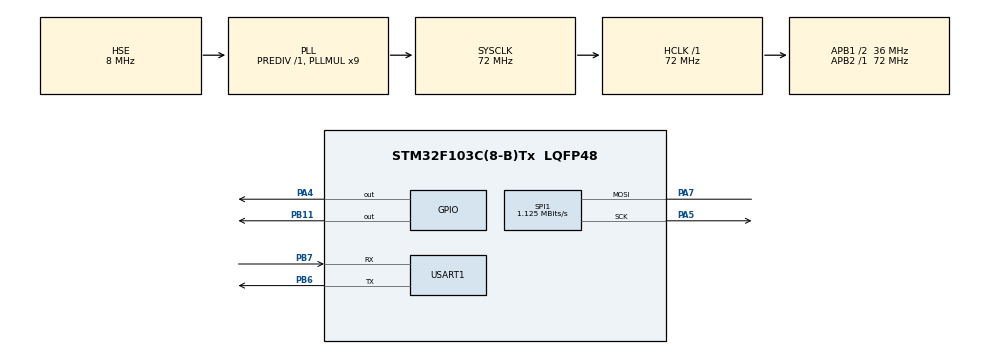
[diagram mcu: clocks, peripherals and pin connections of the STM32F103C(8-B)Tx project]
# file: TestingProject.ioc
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Mcu.Family=STM32F1
Mcu.Name=STM32F103C(8-B)Tx
Mcu.Package=LQFP48
NVIC.PriorityGroup=NVIC_PRIORITYGROUP_4
PA13.Mode=Serial_Wire
PA13.Signal=SYS_JTMS-SWDIO
PA14.Mode=Serial_Wire
PA14.Signal=SYS_JTCK-SWCLK
PA4.Signal=GPIO_Output
PA5.Mode=Simplex_Bidirectional_Master
PA5.Signal=SPI1_SCK
PA7.Mode=Simplex_Bidirectional_Master
PA7.Signal=SPI1_MOSI
PB11.Signal=GPIO_Output
PB6.Mode=Asynchronous
PB6.Signal=USART1_TX
PB7.Mode=Asynchronous
PB7.Signal=USART1_RX
PD0-OSC_IN.Mode=HSE-External-Oscillator
PD0-OSC_IN.Signal=RCC_OSC_IN
PD1-OSC_OUT.Mode=HSE-External-Oscillator
PD1-OSC_OUT.Signal=RCC_OSC_OUT
ProjectManager.HeapSize=0x200
ProjectManager.StackSize=0x400
ProjectManager.TargetToolchain=STM32CubeIDE
RCC.AHBFreq_Value=72000000
RCC.APB1CLKDivider=RCC_HCLK_DIV2
RCC.APB1Freq_Value=36000000
RCC.APB1TimFreq_Value=72000000
RCC.APB2Freq_Value=72000000
RCC.APB2TimFreq_Value=72000000
RCC.HCLKFreq_Value=72000000
RCC.PLLMUL=RCC_PLL_MUL9
RCC.PLLSourceVirtual=RCC_PLLSOURCE_HSE
RCC.SYSCLKFreq_VALUE=72000000
RCC.SYSCLKSource=RCC_SYSCLKSOURCE_PLLCLK
RCC.USBFreq_Value=48000000
RCC.USBPrescaler=RCC_USBCLKSOURCE_PLL_DIV1_5
SPI1.BaudRatePrescaler=SPI_BAUDRATEPRESCALER_64
SPI1.CalculateBaudRate=1.125 MBits/s
SPI1.Direction=SPI_DIRECTION_1LINE
SPI1.FirstBit=SPI_FIRSTBIT_MSB
SPI1.Mode=SPI_MODE_MASTER
SPI1.VirtualType=VM_MASTER
TIM4.Prescaler=72-1
USART1.VirtualMode=VM_ASYNC
VP_TIM4_VS_ClockSourceINT.Mode=Internal
board=custom

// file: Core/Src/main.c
/* USER CODE BEGIN Header */
/**
 ******************************************************************************
 * @file           : main.c
 * @brief          : Main program body
 ******************************************************************************
 * @attention
 *
 * Copyright (c) 2025 STMicroelectronics.
 * All rights reserved.
 *
 * This software is licensed under terms that can be found in the LICENSE file
 * in the root directory of this software component.
 * If no LICENSE file comes with this software, it is provided AS-IS.
 *
 ******************************************************************************
 */
/* USER CODE END Header */
#include "main.h"

/* USER CODE BEGIN Includes */
#include <stdio.h>
#include <stdbool.h>
#include <string.h>
/* USER CODE END Includes */

/* USER CODE BEGIN PD */
#define TEMP_PORT GPIOB
#define TEMP_PIN GPIO_PIN_11
#define TEMP_TIMEOUT 100
/* USER CODE END PD */

SPI_HandleTypeDef hspi1;

TIM_HandleTypeDef htim4;

UART_HandleTypeDef huart1;

/* USER CODE BEGIN PV */
uint8_t txBuffer[] = "Test String\n";
uint8_t txBufferLen = sizeof(txBuffer);
/* USER CODE END PV */

void SystemClock_Config(void);
static void MX_GPIO_Init(void);
static void MX_USART1_UART_Init(void);
static void MX_TIM4_Init(void);
static void MX_SPI1_Init(void);
/* USER CODE BEGIN PFP */

//
void setTempPinOutput(bool isOutput);
void print(char *text);
void delayUs(uint32_t us);
/* USER CODE END PFP */

int main(void) {

	/* MCU Configuration--------------------------------------------------------*/

	/* Reset of all peripherals, Initializes the Flash interface and the Systick. */
	HAL_Init();

	/* Configure the system clock */
	SystemClock_Config();

	/* Initialize all configured peripherals */
	MX_GPIO_Init();
	MX_USART1_UART_Init();
	MX_TIM4_Init();
	MX_SPI1_Init();
	/* USER CODE BEGIN 2 */
	setTempPinOutput(false);
	HAL_UART_Transmit(&huart1, txBuffer, txBufferLen, 100);
	uint32_t timer = HAL_GetTick();

	HAL_TIM_Base_Start(&htim4);

	HAL_GPIO_WritePin(GPIOA, GPIO_PIN_4, 0); //Disable RTC CS
	/* USER CODE END 2 */

	/* Infinite loop */
	while (1) {

		/* USER CODE BEGIN 3 */

		while (1) {
			HAL_GPIO_WritePin(GPIOA, GPIO_PIN_4, 1);

//		uint8_t spiBuffer[2] = {0xFF, 0b01010101};
//			HAL_SPI_Transmit(&hspi1, spiBuffer, 2, 100);

			uint8_t spiBuffer[1] = { 0x81 };
			uint8_t spiReciveBuffer[1] = { 0 };
			HAL_SPI_Transmit(&hspi1, spiBuffer, 1, 100);
			HAL_SPI_Receive(&hspi1, spiReciveBuffer, 1, 100);

			HAL_GPIO_WritePin(GPIOA, GPIO_PIN_4, 0);

			HAL_Delay(2000);
		}
//		HAL_UART_Transmit(&huart1, txBuffer, txBufferLen, 100);
//	     HAL_UART_Receive(&huart1, buffer, sizeof(buffer), 100);
//	     HAL_UART_Transmit(&huart1, buffer, sizeof(buffer), 100);
//		if (HAL_GetTick() - timer > 1000) {
		HAL_Delay(1000);
		print("Starting\r\n");
		//Pull pin low for 20ms
		setTempPinOutput(true);
		HAL_GPIO_WritePin(TEMP_PORT, TEMP_PIN, 0);
		HAL_Delay(20);
		//Pull pin high and start reading, pin will go low then high for 80us to show start
		setTempPinOutput(false);
//		print("Waiting\r\n");
		timer = HAL_GetTick();
		while (HAL_GPIO_ReadPin(TEMP_PORT, TEMP_PIN)) {
			if (HAL_GetTick() - timer > TEMP_TIMEOUT) {
				print("Timeout\r\n");
				break;
			}
		}
//		print("H to L\r\n");
		timer = HAL_GetTick();
		while (!HAL_GPIO_ReadPin(TEMP_PORT, TEMP_PIN)) {
			if (HAL_GetTick() - timer > TEMP_TIMEOUT) {
				print("Timeout\r\n");
				break;
			}
		}
//		print("L to H\r\n");
		timer = HAL_GetTick();
		while (HAL_GPIO_ReadPin(TEMP_PORT, TEMP_PIN)) {
			if (HAL_GetTick() - timer > TEMP_TIMEOUT) {
				print("Timeout\r\n");
				break;
			}
		}
//		print("H to L\r\n");
//		print("Ready\r\n");

//Loop over all bits
		uint8_t temperatureData[5] = { 0 };
		for (uint8_t i = 0; i < 40; ++i) {
			timer = HAL_GetTick();
			while (!HAL_GPIO_ReadPin(TEMP_PORT, TEMP_PIN)) {
				if (HAL_GetTick() - timer > TEMP_TIMEOUT) {
					print("Timeout\r\n");
					break;
				}
			}
//			print("L to H\r\n");
			delayUs(40);
			HAL_GPIO_WritePin(GPIOB, GPIO_PIN_0, 0);
//			HAL_Delay(1);

			if (HAL_GPIO_ReadPin(TEMP_PORT, TEMP_PIN)) {
				temperatureData[i / 8] |= 1 << ((7 - i) % 8);
				delayUs(40);
			}

		}

		//checksum
		if (temperatureData[0] + temperatureData[1] + temperatureData[2]
				+ temperatureData[3] != temperatureData[4]) {
			print("checksum Error\r\n");
		}
		float temperature = temperatureData[2] + temperatureData[3] / 10.0;
		float humidity = temperatureData[0] + temperatureData[1] / 10.0;

		HAL_Delay(2000);
//		}
	}
	/* USER CODE END 3 */
}

void SystemClock_Config(void) {
	RCC_OscInitTypeDef RCC_OscInitStruct = { 0 };
	RCC_ClkInitTypeDef RCC_ClkInitStruct = { 0 };

	/** Initializes the RCC Oscillators according to the specified parameters
	 * in the RCC_OscInitTypeDef structure.
	 */
	RCC_OscInitStruct.OscillatorType = RCC_OSCILLATORTYPE_HSE;
	RCC_OscInitStruct.HSEState = RCC_HSE_ON;
	RCC_OscInitStruct.HSEPredivValue = RCC_HSE_PREDIV_DIV1;
	RCC_OscInitStruct.HSIState = RCC_HSI_ON;
	RCC_OscInitStruct.PLL.PLLState = RCC_PLL_ON;
	RCC_OscInitStruct.PLL.PLLSource = RCC_PLLSOURCE_HSE;
	RCC_OscInitStruct.PLL.PLLMUL = RCC_PLL_MUL9;
	if (HAL_RCC_OscConfig(&RCC_OscInitStruct) != HAL_OK) {
		Error_Handler();
	}

	/** Initializes the CPU, AHB and APB buses clocks
	 */
	RCC_ClkInitStruct.ClockType = RCC_CLOCKTYPE_HCLK | RCC_CLOCKTYPE_SYSCLK
			| RCC_CLOCKTYPE_PCLK1 | RCC_CLOCKTYPE_PCLK2;
	RCC_ClkInitStruct.SYSCLKSource = RCC_SYSCLKSOURCE_PLLCLK;
	RCC_ClkInitStruct.AHBCLKDivider = RCC_SYSCLK_DIV1;
	RCC_ClkInitStruct.APB1CLKDivider = RCC_HCLK_DIV2;
	RCC_ClkInitStruct.APB2CLKDivider = RCC_HCLK_DIV1;

	if (HAL_RCC_ClockConfig(&RCC_ClkInitStruct, FLASH_LATENCY_2) != HAL_OK) {
		Error_Handler();
	}
}

static void MX_SPI1_Init(void) {

	/* SPI1 parameter configuration*/
	hspi1.Instance = SPI1;
	hspi1.Init.Mode = SPI_MODE_MASTER;
	hspi1.Init.Direction = SPI_DIRECTION_1LINE;
	hspi1.Init.DataSize = SPI_DATASIZE_8BIT;
	hspi1.Init.CLKPolarity = SPI_POLARITY_LOW;
	hspi1.Init.CLKPhase = SPI_PHASE_1EDGE;
	hspi1.Init.NSS = SPI_NSS_SOFT;
	hspi1.Init.BaudRatePrescaler = SPI_BAUDRATEPRESCALER_64;
	hspi1.Init.FirstBit = SPI_FIRSTBIT_MSB;
	hspi1.Init.TIMode = SPI_TIMODE_DISABLE;
	hspi1.Init.CRCCalculation = SPI_CRCCALCULATION_DISABLE;
	hspi1.Init.CRCPolynomial = 10;
	if (HAL_SPI_Init(&hspi1) != HAL_OK) {
		Error_Handler();
	}

}

static void MX_TIM4_Init(void) {

	TIM_ClockConfigTypeDef sClockSourceConfig = { 0 };
	TIM_MasterConfigTypeDef sMasterConfig = { 0 };

	htim4.Instance = TIM4;
	htim4.Init.Prescaler = 72 - 1;
	htim4.Init.CounterMode = TIM_COUNTERMODE_UP;
	htim4.Init.Period = 65535;
	htim4.Init.ClockDivision = TIM_CLOCKDIVISION_DIV1;
	htim4.Init.AutoReloadPreload = TIM_AUTORELOAD_PRELOAD_DISABLE;
	if (HAL_TIM_Base_Init(&htim4) != HAL_OK) {
		Error_Handler();
	}
	sClockSourceConfig.ClockSource = TIM_CLOCKSOURCE_INTERNAL;
	if (HAL_TIM_ConfigClockSource(&htim4, &sClockSourceConfig) != HAL_OK) {
		Error_Handler();
	}
	sMasterConfig.MasterOutputTrigger = TIM_TRGO_RESET;
	sMasterConfig.MasterSlaveMode = TIM_MASTERSLAVEMODE_DISABLE;
	if (HAL_TIMEx_MasterConfigSynchronization(&htim4, &sMasterConfig)
			!= HAL_OK) {
		Error_Handler();
	}

}

static void MX_USART1_UART_Init(void) {

	huart1.Instance = USART1;
	huart1.Init.BaudRate = 115200;
	huart1.Init.WordLength = UART_WORDLENGTH_8B;
	huart1.Init.StopBits = UART_STOPBITS_1;
	huart1.Init.Parity = UART_PARITY_NONE;
	huart1.Init.Mode = UART_MODE_TX_RX;
	huart1.Init.HwFlowCtl = UART_HWCONTROL_NONE;
	huart1.Init.OverSampling = UART_OVERSAMPLING_16;
	if (HAL_UART_Init(&huart1) != HAL_OK) {
		Error_Handler();
	}

}

static void MX_GPIO_Init(void) {
	GPIO_InitTypeDef GPIO_InitStruct = { 0 };

	/* GPIO Ports Clock Enable */
	__HAL_RCC_GPIOD_CLK_ENABLE();
	__HAL_RCC_GPIOA_CLK_ENABLE();
	__HAL_RCC_GPIOB_CLK_ENABLE();

	/*Configure GPIO pin Output Level */
	HAL_GPIO_WritePin(GPIOA, GPIO_PIN_4, GPIO_PIN_RESET);

	/*Configure GPIO pin Output Level */
	HAL_GPIO_WritePin(GPIOB, GPIO_PIN_11, GPIO_PIN_RESET);

	/*Configure GPIO pin : PA4 */
	GPIO_InitStruct.Pin = GPIO_PIN_4;
	GPIO_InitStruct.Mode = GPIO_MODE_OUTPUT_PP;
	GPIO_InitStruct.Pull = GPIO_NOPULL;
	GPIO_InitStruct.Speed = GPIO_SPEED_FREQ_LOW;
	HAL_GPIO_Init(GPIOA, &GPIO_InitStruct);

	/*Configure GPIO pin : PB11 */
	GPIO_InitStruct.Pin = GPIO_PIN_11;
	GPIO_InitStruct.Mode = GPIO_MODE_OUTPUT_PP;
	GPIO_InitStruct.Pull = GPIO_NOPULL;
	GPIO_InitStruct.Speed = GPIO_SPEED_FREQ_LOW;
	HAL_GPIO_Init(GPIOB, &GPIO_InitStruct);

}

/* USER CODE BEGIN 4 */
void setTempPinOutput(bool isOutput) {
	GPIO_InitTypeDef GPIO_InitStruct = { 0 };
	GPIO_InitStruct.Pin = GPIO_PIN_11;
	GPIO_InitStruct.Mode = isOutput ? GPIO_MODE_OUTPUT_OD : GPIO_MODE_INPUT;
	GPIO_InitStruct.Pull = GPIO_NOPULL;
	GPIO_InitStruct.Speed = GPIO_SPEED_FREQ_LOW;
	HAL_GPIO_Init(GPIOB, &GPIO_InitStruct);
}

void print(char text[]) {
	char buffer[16];
	strcpy(buffer, text);
	HAL_UART_Transmit(&huart1, (uint8_t*) buffer, sizeof(buffer), 100);
}

void delayUs(uint32_t us) {
	__HAL_TIM_SET_COUNTER(&htim4, 0);  // set the counter value a 0
	while ((uint32_t) __HAL_TIM_GET_COUNTER(&htim4) < us)
		;  // wait for the counter to reach the us input in the parameter
}

/* USER CODE END 4 */

void Error_Handler(void) {
	__disable_irq();
	while (1) {
	}
}
